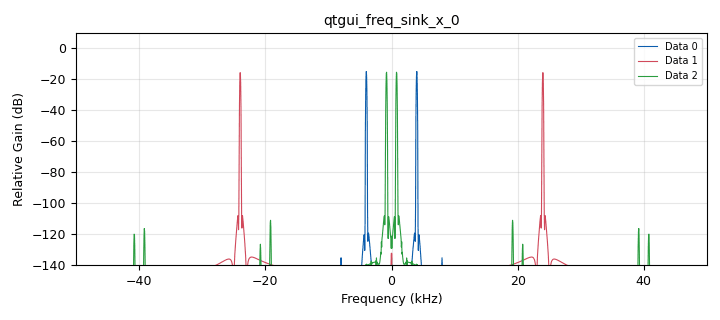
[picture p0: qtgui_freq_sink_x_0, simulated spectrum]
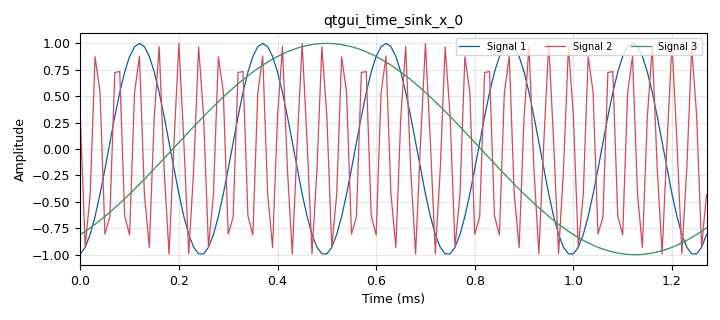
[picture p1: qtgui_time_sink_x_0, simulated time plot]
options:
  parameters:
    author: Jose_Algarin_Diego_Palencia_L1B_G1
    generate_options: qt_gui
    id: lab1_punto_4
    output_language: python
    title: laboratorio 1b parte 2
  states: {}

blocks:
- name: freq
  id: variable_qtgui_range
  parameters:
    label: frequency
    start: '1000'
    step: '1000'
    stop: '40000'
    value: '4000'
  states: {}
- name: samp_rate
  id: variable
  parameters:
    value: '100000'
  states: {}
- name: variable_qtgui_range_0
  id: variable_qtgui_range
  parameters:
    start: '0'
    step: '1'
    stop: '100'
    value: '50'
  states: {state: disabled}
- name: variable_qtgui_range_1
  id: variable_qtgui_range
  parameters:
    start: '0'
    step: '1'
    stop: '100'
    value: '50'
  states: {state: disabled}
- name: variable_qtgui_range_2
  id: variable_qtgui_range
  parameters:
    start: '0'
    step: '1'
    stop: '100'
    value: '50'
  states: {state: disabled}
- name: variable_qtgui_range_3
  id: variable_qtgui_range
  parameters:
    start: '0'
    step: '1'
    stop: '100'
    value: '50'
  states: {state: disabled}
- name: variable_qtgui_range_4
  id: variable_qtgui_range
  parameters:
    start: '0'
    step: '1'
    stop: '100'
    value: '50'
  states: {state: disabled}
- name: variable_qtgui_range_5
  id: variable_qtgui_range
  parameters:
    start: '0'
    step: '1'
    stop: '100'
    value: '50'
  states: {state: disabled}
- name: variable_qtgui_range_6
  id: variable_qtgui_range
  parameters:
    start: '0'
    step: '1'
    stop: '100'
    value: '50'
  states: {state: disabled}
- name: variable_qtgui_range_7
  id: variable_qtgui_range
  parameters:
    start: '0'
    step: '1'
    stop: '100'
    value: '50'
  states: {state: disabled}
- name: variable_qtgui_range_8
  id: variable_qtgui_range
  parameters:
    start: '0'
    step: '1'
    stop: '100'
    value: '50'
  states: {state: disabled}
- name: analog_sig_source_x_0
  id: analog_sig_source_x
  parameters:
    amp: '1'
    freq: freq
    offset: '0'
    phase: '0'
    samp_rate: samp_rate
    type: float
    waveform: analog.GR_COS_WAVE
  states: {}
- name: analog_sig_source_x_1
  id: analog_sig_source_x
  parameters:
    amp: '1'
    freq: freq
    offset: '0'
    phase: '0'
    samp_rate: samp_rate
    type: float
    waveform: analog.GR_COS_WAVE
  states: {}
- name: analog_sig_source_x_2
  id: analog_sig_source_x
  parameters:
    amp: '1'
    freq: freq
    offset: '0'
    phase: '0'
    samp_rate: samp_rate
    type: float
    waveform: analog.GR_COS_WAVE
  states: {}
- name: blocks_throttle_0
  id: blocks_throttle
  parameters:
    samples_per_second: samp_rate
    type: float
  states: {}
- name: qtgui_freq_sink_x_0
  id: qtgui_freq_sink_x
  parameters:
    bw: samp_rate
    fc: '0'
    fftsize: '2048'
    nconnections: '3'
    type: float
  states: {}
- name: qtgui_time_sink_x_0
  id: qtgui_time_sink_x
  parameters:
    autoscale: 'True'
    grid: 'True'
    nconnections: '3'
    size: '128'
    srate: samp_rate
    type: float
  states: {}
- name: rational_resampler_xxx_0
  id: rational_resampler_xxx
  parameters:
    decim: '1'
    interp: '1'
    type: fff
  states: {}
- name: rational_resampler_xxx_1
  id: rational_resampler_xxx
  parameters:
    decim: '6'
    interp: '1'
    type: fff
  states: {}
- name: rational_resampler_xxx_2
  id: rational_resampler_xxx
  parameters:
    decim: '1'
    interp: '5'
    type: fff
  states: {}

connections:
- [analog_sig_source_x_0, '0', rational_resampler_xxx_0, '0']
- [analog_sig_source_x_1, '0', rational_resampler_xxx_1, '0']
- [analog_sig_source_x_2, '0', rational_resampler_xxx_2, '0']
- [blocks_throttle_0, '0', qtgui_freq_sink_x_0, '0']
- [blocks_throttle_0, '0', qtgui_time_sink_x_0, '0']
- [rational_resampler_xxx_0, '0', blocks_throttle_0, '0']
- [rational_resampler_xxx_1, '0', qtgui_freq_sink_x_0, '1']
- [rational_resampler_xxx_1, '0', qtgui_time_sink_x_0, '1']
- [rational_resampler_xxx_2, '0', qtgui_freq_sink_x_0, '2']
- [rational_resampler_xxx_2, '0', qtgui_time_sink_x_0, '2']

metadata:
  file_format: 1
  grc_version: 3.10.5.1
